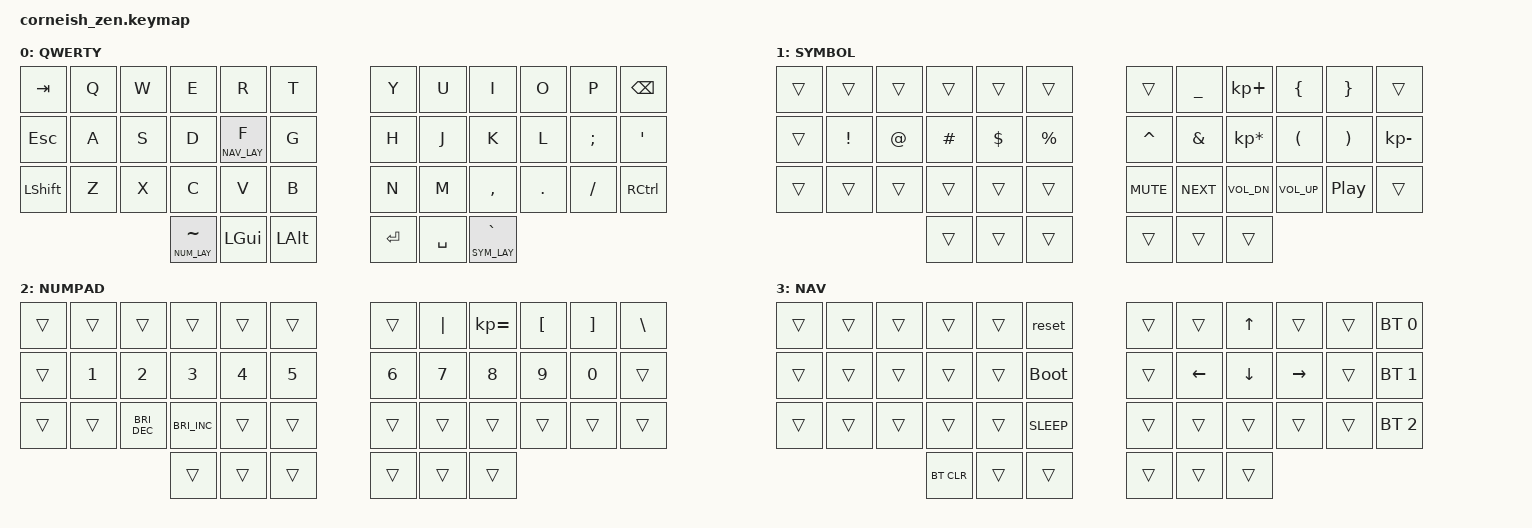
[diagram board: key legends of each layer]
#include <behaviors.dtsi>
#include <dt-bindings/zmk/keys.h>
#include <dt-bindings/zmk/bt.h>

/ {
  chosen {
    zmk,matrix_transform = &default_transform;
    //zmk,matrix_transform = &five_column_transform;
  };
};

#define SYM_LAY 1
#define NUM_LAY 2
#define NAV_LAY 3
#define BTH_LAY 4

/ {
        behaviors {
                hm: homerow_mods {
                compatible = "zmk,behavior-hold-tap";
                label = "HOMEROW_MODS";
                #binding-cells = <2>;
                tapping-term-ms = <150>;
                quick_tap_ms = <0>;
                flavor = "tap-preferred";
                bindings = <&kp>, <&kp>;
                };
        };
        keymap {
                compatible = "zmk,keymap";

                default_layer {
                        label = "QWERTY";
// -----------------------------------------------------------------------------------------
// |  TAB |  Q  |  W  |  E  |  R  |  T  |   |  Y  |  U   |  I  |  O  |  P  | BKSP |
// |  ESC |  A  |  S  |  D  |  F  |  G  |   |  H  |  J   |  K  |  L  |  ;  |  '   |
// | SHFT |  Z  |  X  |  C  |  V  |  B  |   |  N  |  M   |  ,  |  .  |  /  | CTRL |
//                    |  ~  | GUI | ALT |   | ENT | SPC  |  `  |
// Holding
// -----------------------------------------------------------------------------------------
// |      |     |     |     |     |     |   |     |      |     |     |     |      |
// |      |     |     |     | NAV |     |   |     |      |     |     |     |      |
// |      |     |     |     |     |     |   |     |      |     |     |     |      |
//                    | NUM |     |     |   |     |      | SYM |

                        bindings = <
   &kp TAB   &kp Q &kp W &kp E             &kp R          &kp T    &kp Y   &kp U     &kp I             &kp O   &kp P    &kp BSPC
   &kp ESC   &kp A &kp S &kp D             &lt NAV_LAY F  &kp G    &kp H   &kp J     &kp K             &kp L   &kp SEMI &kp SQT
   &kp LSHFT &kp Z &kp X &kp C             &kp V          &kp B    &kp N   &kp M     &kp COMMA         &kp DOT &kp FSLH &kp RCTRL
                         &lt NUM_LAY TILDE &kp LGUI       &kp LALT &kp RET &kp SPACE &lt SYM_LAY GRAVE
                        >;
                };

                sym_layer {
                        label = "SYMBOL";
// -----------------------------------------------------------------------------------------
// |      |     |     |     |     |     |   |     |  _  |  +  |  {  |  }  |      |
// |      |  !  |  @  |  #  |  $  |  %  |   |  ^  |  &  |  *  |  (  |  )  |  -   |
// |      |     |     |     |     |     |   | MUT | NXT | VL+ | VL- | PLY |      |
//                    |     |     |     |   |     |     |     |
                        bindings = <
   &trans &trans   &trans &trans   &trans   &trans    &trans     &kp UNDER  &kp KP_PLUS     &kp LBRC     &kp RBRC         &trans
   &trans &kp EXCL &kp AT &kp HASH &kp DLLR &kp PRCNT &kp CARET  &kp AMPS   &kp KP_MULTIPLY &kp LPAR     &kp RPAR         &kp KP_MINUS
   &trans &trans   &trans &trans   &trans   &trans    &kp C_MUTE &kp C_NEXT &kp C_VOL_DN    &kp C_VOL_UP &kp C_PLAY_PAUSE &trans
                          &trans   &trans   &trans    &trans     &trans     &trans 
                        >;
                };

                num_layer {
                        label = "NUMPAD";
// -----------------------------------------------------------------------------------------
// |      |     |     |     |     |     |   |     | "|" |  =  |  [  |  ]  |  \   |
// |      |  1  |  2  |  3  |  4  |  5  |   |  6  |  7  |  8  |  9  |  0  |      |
// |      |     | BR- | BR+ |     |     |   |     |     |     |     |     |      |
//                    |     |     |     |   |     |     |     |
                        bindings = <
   &trans &trans &trans        &trans        &trans &trans &trans &kp PIPE &kp KP_EQUAL &kp LBKT &kp RBKT &kp BSLH
   &trans &kp N1 &kp N2        &kp N3        &kp N4 &kp N5 &kp N6 &kp N7   &kp N8       &kp N9   &kp N0   &trans
   &trans &trans &kp C_BRI_DEC &kp C_BRI_INC &trans &trans &trans &trans   &trans       &trans   &trans   &trans
                               &trans        &trans &trans &trans &trans   &trans
                        >;
                };

                nav_layer {
                        label = "NAV";
// -----------------------------------------------------------------------------------------
// |      |     |     |     |     | RST |   |     |     | UP  |     |     | BT 0 |
// |      |     |     |     |     | BTL |   |     |LEFT |DOWN |RIGHT|     | BT 1 |
// |      |     |     |     |     | SLP |   |     |     |     |     |     | BT 2 |
//                    | BTC |     |     |   |     |     |     |
                        bindings = <
   &trans &trans &trans &trans &trans &reset      &trans &trans   &kp UP   &trans    &trans &bt BT_SEL 0
   &trans &trans &trans &trans &trans &bootloader &trans &kp LEFT &kp DOWN &kp RIGHT &trans &bt BT_SEL 1
   &trans &trans &trans &trans &trans &kp C_SLEEP &trans &trans   &trans   &trans    &trans &bt BT_SEL 2       
                        &bt BT_CLR &trans &trans      &trans &trans   &trans
                        >;
                };
        };
};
